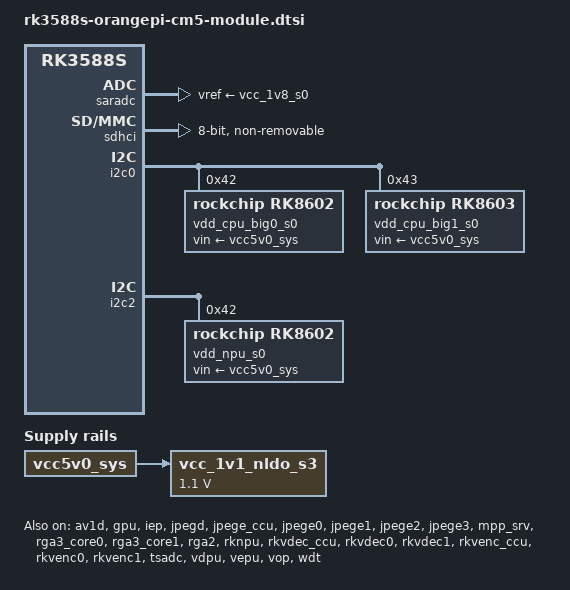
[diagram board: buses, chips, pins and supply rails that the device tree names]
// SPDX-License-Identifier: (GPL-2.0+ OR MIT)
/*
 * Orange Pi CM5 module: the parts of the device tree that belong to the module itself (CPU / GPU / NPU supplies and
 * their regulators on the module's I2C0 / I2C2, eMMC, video blocks, display controller, suspend, watchdog).
 *
 * Copied unchanged from Orange Pi's rk3588s-orangepi-cm5.dts (Copyright (c) 2021 Rockchip Electronics Co., Ltd.),
 * github.com/orangepi-xunlong/linux-orangepi, branch orange-pi-6.1-rk35xx, commit
 * f6eedab0cbe9b4be3f855661a0a7e7008812d40a (blocks extracted by label, see software/README.md). The carrier board
 * file includes this after rk3588s.dtsi, rk3588-rk806-single.dtsi and rk3588-linux.dtsi, and defines vcc5v0_sys.
 */

/ {
	vcc_1v1_nldo_s3: vcc-1v1-nldo-s3 {
		compatible = "regulator-fixed";
		regulator-name = "vcc_1v1_nldo_s3";
		regulator-always-on;
		regulator-boot-on;
		regulator-min-microvolt = <1100000>;
		regulator-max-microvolt = <1100000>;
		vin-supply = <&vcc5v0_sys>;
	};
};

&av1d {
	status = "okay";
};

&av1d_mmu {
	status = "okay";
};

&gpu {
	mali-supply = <&vdd_gpu_s0>;
	mem-supply = <&vdd_gpu_mem_s0>;
	status = "okay";
};

&iep {
	status = "okay";
};

&iep_mmu {
	status = "okay";
};

&jpegd {
	status = "okay";
};

&jpegd_mmu {
	status = "okay";
};

&jpege_ccu {
	status = "okay";
};

&jpege0 {
	status = "okay";
};

&jpege0_mmu {
	status = "okay";
};

&jpege1 {
	status = "okay";
};

&jpege1_mmu {
	status = "okay";
};

&jpege2 {
	status = "okay";
};

&jpege2_mmu {
	status = "okay";
};

&jpege3 {
	status = "okay";
};

&jpege3_mmu {
	status = "okay";
};

&mpp_srv {
	status = "okay";
};

&rga3_core0 {
	status = "okay";
};

&rga3_0_mmu {
	status = "okay";
};

&rga3_core1 {
	status = "okay";
};

&rga3_1_mmu {
	status = "okay";
};

&rga2 {
	status = "okay";
};

&rknpu {
	rknpu-supply = <&vdd_npu_s0>;
	mem-supply = <&vdd_npu_mem_s0>;
	status = "okay";
};

&rknpu_mmu {
	status = "okay";
};

&rkvdec_ccu {
	status = "okay";
};

&rkvdec0 {
	status = "okay";
};

&rkvdec0_mmu {
	status = "okay";
};

&rkvdec1 {
	status = "okay";
};

&rkvdec1_mmu {
	status = "okay";
};

&rkvenc_ccu {
	status = "okay";
};

&rkvenc0 {
	status = "okay";
};

&rkvenc0_mmu {
	status = "okay";
};

&rkvenc1 {
	status = "okay";
};

&rkvenc1_mmu {
	status = "okay";
};

&rockchip_suspend {
	status = "okay";
	rockchip,sleep-debug-en = <1>;
};

&saradc {
	status = "okay";
	vref-supply = <&vcc_1v8_s0>;
};

&sdhci {
        pinctrl-names = "default";
        pinctrl-0 = <&emmc_rstnout &emmc_bus8 &emmc_clk &emmc_cmd &emmc_data_strobe>;

	bus-width = <8>;
	no-sdio;
	no-sd;
	non-removable;
	max-frequency = <200000000>;
	mmc-hs400-1_8v;
	mmc-hs400-enhanced-strobe;
	status = "okay";
};

&tsadc {
	status = "okay";
};

&vdpu {
	status = "okay";
};

&vdpu_mmu {
	status = "okay";
};

&vepu {
	status = "okay";
};

&vop {
	status = "okay";
	disable-win-move;
	assigned-clocks = <&cru ACLK_VOP>;
	assigned-clock-rates = <800000000>;
};

&vop_mmu {
	status = "okay";
};

&vp0 {
	cursor-win-id=<ROCKCHIP_VOP2_ESMART0>;
	rockchip,plane-mask = <(1 << ROCKCHIP_VOP2_CLUSTER0 | 1 << ROCKCHIP_VOP2_ESMART0)>;
	rockchip,primary-plane = <ROCKCHIP_VOP2_ESMART0>;
	rockchip,primary-plane = <ROCKCHIP_VOP2_CLUSTER0>;
};

&vp1 {
	cursor-win-id=<ROCKCHIP_VOP2_ESMART1>;
	rockchip,plane-mask = <(1 << ROCKCHIP_VOP2_CLUSTER1 | 1 << ROCKCHIP_VOP2_ESMART1)>;
	rockchip,primary-plane = <ROCKCHIP_VOP2_ESMART1>;
	rockchip,primary-plane = <ROCKCHIP_VOP2_CLUSTER1>;
};

&vp2 {
	cursor-win-id=<ROCKCHIP_VOP2_ESMART2>;
	rockchip,plane-mask = <(1 << ROCKCHIP_VOP2_CLUSTER2 | 1 << ROCKCHIP_VOP2_ESMART2)>;
	rockchip,primary-plane = <ROCKCHIP_VOP2_ESMART2>;
	rockchip,primary-plane = <ROCKCHIP_VOP2_CLUSTER2>;
};

&vp3 {
	cursor-win-id=<ROCKCHIP_VOP2_ESMART3>;
	rockchip,plane-mask = <(1 << ROCKCHIP_VOP2_CLUSTER3 | 1 << ROCKCHIP_VOP2_ESMART3)>;
	rockchip,primary-plane = <ROCKCHIP_VOP2_ESMART3>;
	rockchip,primary-plane = <ROCKCHIP_VOP2_CLUSTER3>;
};

&cpu_l0 {
	cpu-supply = <&vdd_cpu_lit_s0>;
	mem-supply = <&vdd_cpu_lit_mem_s0>;
};

&cpu_b0 {
	cpu-supply = <&vdd_cpu_big0_s0>;
	mem-supply = <&vdd_cpu_big0_mem_s0>;
};

&cpu_b2 {
	cpu-supply = <&vdd_cpu_big1_s0>;
	mem-supply = <&vdd_cpu_big1_mem_s0>;
};

&i2c0 {
	status = "okay";
	pinctrl-names = "default";
	pinctrl-0 = <&i2c0m2_xfer>;

	vdd_cpu_big0_s0: vdd_cpu_big0_mem_s0: rk8602@42 {
		compatible = "rockchip,rk8602";
		reg = <0x42>;
		vin-supply = <&vcc5v0_sys>;
		regulator-compatible = "rk860x-reg";
		regulator-name = "vdd_cpu_big0_s0";
		regulator-min-microvolt = <550000>;
		regulator-max-microvolt = <1050000>;
		regulator-ramp-delay = <2300>;
		rockchip,suspend-voltage-selector = <1>;
		regulator-boot-on;
		regulator-always-on;
		regulator-state-mem {
			regulator-off-in-suspend;
		};
	};

	vdd_cpu_big1_s0: vdd_cpu_big1_mem_s0: rk8603@43 {
		compatible = "rockchip,rk8603";
		reg = <0x43>;
		vin-supply = <&vcc5v0_sys>;
		regulator-compatible = "rk860x-reg";
		regulator-name = "vdd_cpu_big1_s0";
		regulator-min-microvolt = <550000>;
		regulator-max-microvolt = <1050000>;
		regulator-ramp-delay = <2300>;
		rockchip,suspend-voltage-selector = <1>;
		regulator-boot-on;
		regulator-always-on;
		regulator-state-mem {
			regulator-off-in-suspend;
		};
	};
};

&i2c2 {
	status = "okay";
	pinctrl-names = "default";
	pinctrl-0 = <&i2c2m0_xfer>;

	vdd_npu_s0: vdd_npu_mem_s0: rk8602@42 {
		compatible = "rockchip,rk8602";
		reg = <0x42>;
		vin-supply = <&vcc5v0_sys>;
		regulator-compatible = "rk860x-reg";
		regulator-name = "vdd_npu_s0";
		regulator-min-microvolt = <550000>;
		regulator-max-microvolt = <950000>;
		regulator-ramp-delay = <2300>;
		rockchip,suspend-voltage-selector = <1>;
		regulator-boot-on;
		regulator-always-on;
		regulator-state-mem {
			regulator-off-in-suspend;
		};
	};
};

&wdt {
	status = "okay";
};
